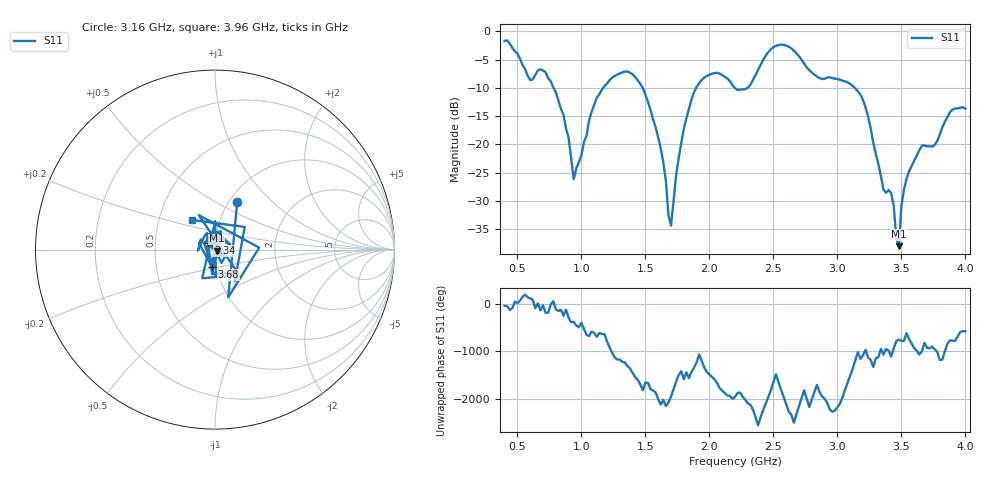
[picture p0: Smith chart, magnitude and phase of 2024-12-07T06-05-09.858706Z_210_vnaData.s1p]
!Created with skrf (http://scikit-rf.org).
# Hz S RI R 50.0
!freq ReS11 ImS11
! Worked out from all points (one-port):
!   181 points, 400 MHz to 4 GHz, reference 50 ohm
!   lowest |S11| = -38.0 dB at 3.48 GHz (marker M1), VSWR 1.03, Z = 51.1 - j0.653 ohm
!   |S11| at or under -10 dB: 782 MHz to 1.17 GHz (388.5 MHz wide, 39.8 % of centre); 1.479 GHz to 1.897 GHz (418.2 MHz wide, 24.8 % of centre); 3.135 GHz to end of sweep (the widest 3 of 4)
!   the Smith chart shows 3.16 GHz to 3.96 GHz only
!   S11 on the Smith chart (normalised r, x): 3.16 GHz: 1.09, +0.64; 3.34 GHz: 0.93, +0.07; 3.68 GHz: 0.95, -0.19; 3.96 GHz: 0.73, +0.25
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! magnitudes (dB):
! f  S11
! 400 MHz  -1.7
! 600 MHz  -8.6
! 720 MHz  -7.2
! 860 MHz  -14.8
! 940 MHz  -26.1
! 1.12 GHz  -11.7
! 1.3 GHz  -7.4
! 1.52 GHz  -12.5
! 1.62 GHz  -20.7
! 1.7 GHz  -34.3
! 1.76 GHz  -22.4
! 1.86 GHz  -12.0
! 1.94 GHz  -8.6
! 2.2 GHz  -10.1
! 2.32 GHz  -9.5
! 2.5 GHz  -2.8
! 2.66 GHz  -3.4
! 3.1 GHz  -9.3
! 3.16 GHz  -10.6
! 3.24 GHz  -15.1
! 3.34 GHz  -25.6
! 3.42 GHz  -28.6
! 3.48 GHz  -38.0
! 3.5 GHz  -30.9
! 3.56 GHz  -24.8
! 3.68 GHz  -20.2
! 3.96 GHz  -13.5
! 4 GHz  -13.7
